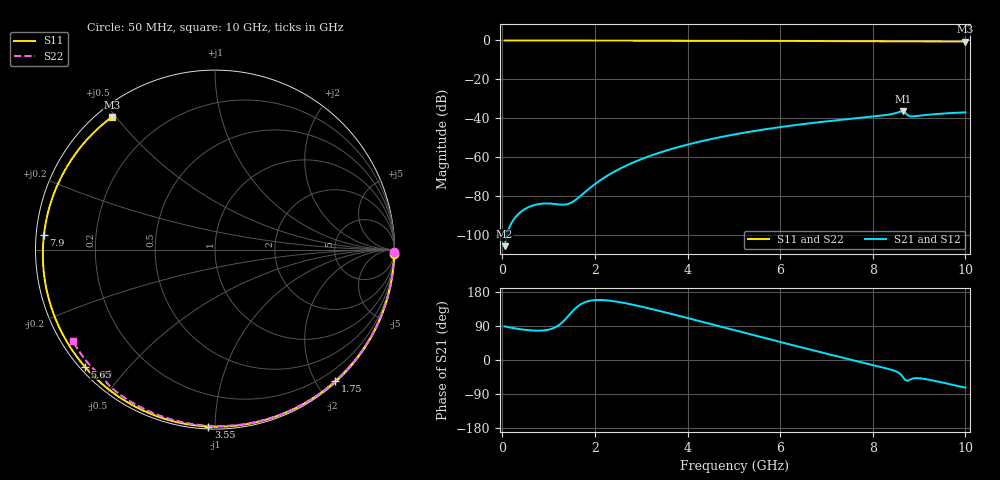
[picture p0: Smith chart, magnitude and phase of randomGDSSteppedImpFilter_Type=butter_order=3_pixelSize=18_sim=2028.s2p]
! freq	dB(S11)	phase(S11)	dB(S12)	phase(S12)
!  dB(S21)	phase(S21)	dB(S22)	phase(S22)
!S-par simulation data
#  GHz  S  DB  R 50
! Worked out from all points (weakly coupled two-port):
!   200 points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, 50 MHz to 10 GHz, reference 50 ohm
!   highest |S21| = -36.33 dB at 8.65 GHz (marker M1); lowest = -105.6 dB at 50 MHz (marker M2)
!   lowest |S11| = -0.6 dB at 10 GHz (marker M3), VSWR 30.15, Z = 2.05 + j24.4 ohm
!   |S11| at or under -10 dB: nowhere
!   |S22| runs from -1.0 to 0.0 dB; largest |S21 - S12| = 0
!   S11 on the Smith chart (normalised r, x): 50 MHz: 2, -85; 1.75 GHz: 0.02, -2.26; 3.55 GHz: 0.01, -0.96; 5.65 GHz: 0.01, -0.38; 7.9 GHz: 0.02, +0.04; 10 GHz: 0.04, +0.49
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0.05  -0.00 -1.4  -105.56 88.7  -105.56 88.7  -0.00 -0.8
0.85  -0.03 -23.5  -83.75 77.7  -83.75 77.7  -0.02 -14.5
1.65  -0.06 -45.0  -80.56 143.4  -80.56 143.4  -0.04 -27.9
1.75  -0.06 -47.7  -78.54 150.7  -78.54 150.7  -0.04 -29.6
2.1  -0.07 -56.7  -72.00 158.4  -72.00 158.4  -0.05 -35.4
2.45  -0.08 -65.6  -66.92 154.3  -66.92 154.3  -0.05 -41.1
2.9  -0.10 -76.7  -61.89 143.7  -61.89 143.7  -0.06 -48.3
3.4  -0.11 -88.6  -57.54 129.3  -57.54 129.3  -0.07 -56.2
3.55  -0.12 -92.1  -56.42 124.8  -56.42 124.8  -0.08 -58.5
4.25  -0.15 -108.0  -51.98 102.9  -51.98 102.9  -0.10 -69.2
5.05  -0.18 -125.4  -48.06 77.6  -48.06 77.6  -0.12 -81.0
5.65  -0.22 -138.0  -45.68 58.6  -45.68 58.6  -0.15 -89.6
6.7  -0.29 -159.8  -42.34 25.9  -42.34 25.9  -0.20 -104.2
7.3  -0.33 -172.2  -40.76 7.6  -40.76 7.6  -0.24 -112.4
7.9  -0.38 175.2  -39.32 -10.4  -39.32 -10.4  -0.29 -120.5
8.35  -0.42 165.6  -38.01 -24.0  -38.01 -24.0  -0.34 -127.0
8.55  -0.44 161.2  -36.87 -32.9  -36.87 -32.9  -0.49 -130.7
8.65  -0.45 159.0  -36.33 -44.9  -36.33 -44.9  -0.84 -131.9
8.75  -0.46 156.8  -38.25 -54.8  -38.25 -54.8  -0.86 -129.8
8.85  -0.47 154.6  -39.02 -49.4  -39.02 -49.4  -0.59 -130.8
9.4  -0.52 142.1  -37.72 -56.7  -37.72 -56.7  -0.46 -139.0
10  -0.58 127.9  -36.87 -73.0  -36.87 -73.0  -0.52 -147.1
